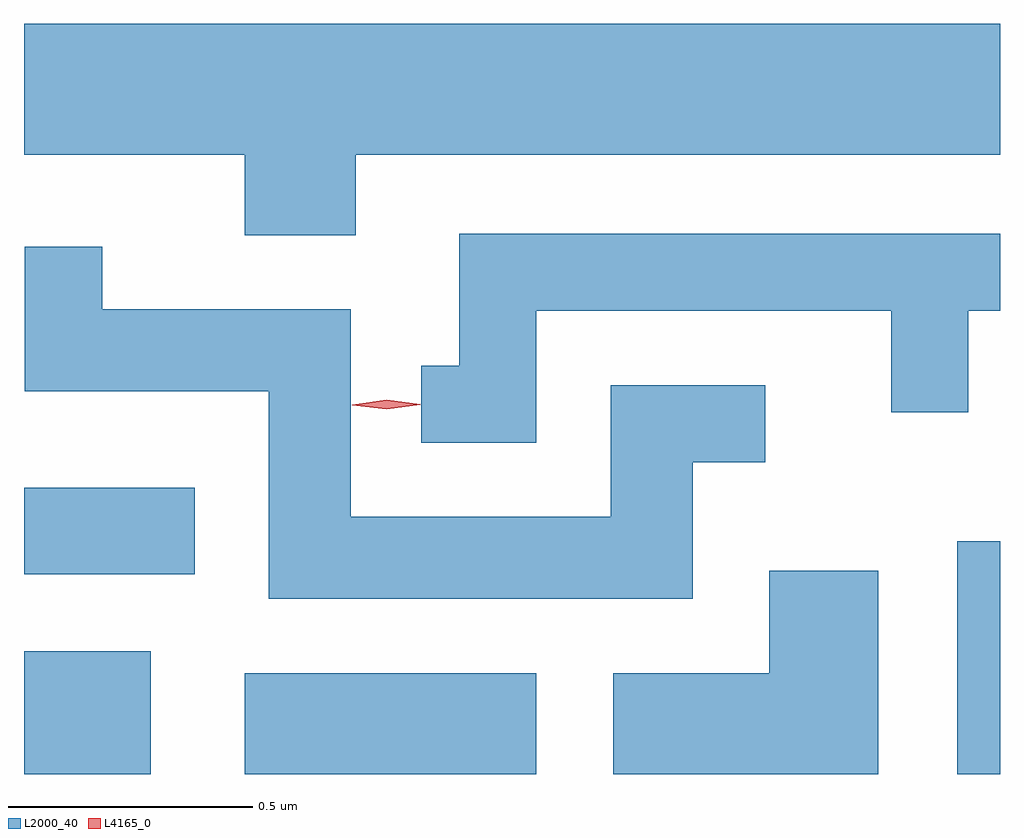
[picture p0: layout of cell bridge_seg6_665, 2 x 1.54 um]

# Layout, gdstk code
import gdstk
lib = gdstk.Library(unit=1e-6, precision=1e-09)
def R(c, l, rs):  # rectangles x0, y0, x1, y1
    for r in rs: c.add(gdstk.rectangle(r[:2], r[2:], *l))
def P(c, l, *ps):  # polygons
    for p in ps: c.add(gdstk.Polygon(p, *l))
L2000_40 = (2000, 40)
L4165_0 = (4165, 0)

bridge_seg6_665 = lib.new_cell('bridge_seg6_665')
R(bridge_seg6_665, L2000_40, [(323.209,1659.767,323.469,1660.019), (323.661,1659.767,324.259,1659.974), (325.121,1659.767,325.209,1660.244), (323.209,1660.176,323.559,1660.354)])
P(bridge_seg6_665, L2000_40, [(323.889,1661.036),(325.209,1661.036),(325.209,1661.304),(323.209,1661.304),(323.209,1661.036),(323.661,1661.036),(323.661,1660.871),(323.889,1660.871)],
  [(324.259,1660.716),(324.986,1660.716),(324.986,1660.508),(325.144,1660.508),(325.144,1660.716),(325.209,1660.716),(325.209,1660.874),(324.101,1660.874),(324.101,1660.604),(324.023,1660.604),(324.023,1660.446),(324.259,1660.446)],
  [(324.579,1660.406),(324.728,1660.406),(324.728,1660.564),(324.411,1660.564),(324.411,1660.294),(323.879,1660.294),(323.879,1660.719),(323.369,1660.719),(323.369,1660.848),(323.211,1660.848),(323.211,1660.551),(323.711,1660.551),(323.711,1660.126),(324.579,1660.126)],
  [(324.959,1660.184),(324.736,1660.184),(324.736,1659.974),(324.416,1659.974),(324.416,1659.767),(324.959,1659.767)])
P(bridge_seg6_665, L4165_0, [(323.952,1660.514),(323.882,1660.523),(323.882,1660.524),(323.882,1660.524),(323.952,1660.534),(324.021,1660.525),(324.021,1660.524),(324.021,1660.524)])

lib.write_gds('bridge_seg6_665.gds')
